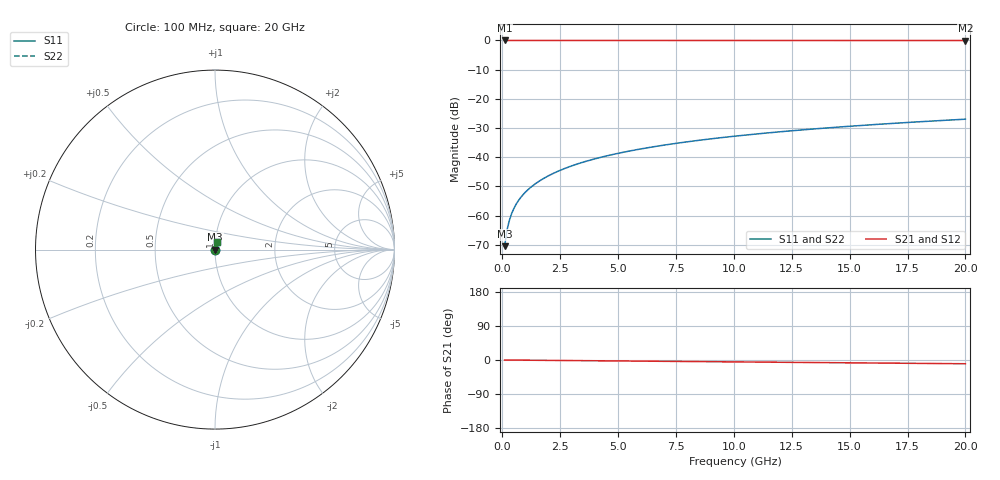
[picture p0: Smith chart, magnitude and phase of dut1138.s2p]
! Touchstone file exported from HFSS 2026.1.0
!  File:  C:/ffzhzh/LocalFiles/Ansys_Project_Files/temp_train_TSV_1138_1783191313_18472.aedt
!  Generated:  02:56:51 AM Jul  5, 2026
!  Design:  TSV
!  Project:  temp_train_TSV_1138_1783191313_18472
! Variables:
!  h_bsmrdl = 2um
!  h_ox = 20um
!  h_rdl = 5um
!  h_sub = 93.12um
!  h_tmrdl = 5um
!  h_tsv = 93.12um
!  h_via = 3um
!  l_bsmrdl = 300um
!  l_sub = 421um
!  l_tmrdl = 200um
!  m_sub = 200um
!  pitch = 58.54um
!  r_tsv = 10.5um
!  s_tmrdl = 10um
!  w_bsmrdl = 18um
!  w_sub = 500um
!  w_tmrdl = 12um
!  x_tsv_center1 = 206um
!  x_tsv_center2 = 524um
!  x_tsv_center3 = 736um
!  x_tsv_center4 = 1054um
!  x_tsv_center5 = 1266um
!  x_tsv_center6 = 1584um
# GHz S MA R 50.000000
! Terminal data exported
! Port[1] = TSV1_1_T1
! Port[2] = TSV1_1_T2
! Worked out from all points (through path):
!   200 points, 100 MHz to 20 GHz, reference 50 ohm
!   highest |S21| = 0.00 dB at 100 MHz (marker M1); lowest = 0.0 dB at 20 GHz (marker M2)
!   group delay of S21, straight-line fit = 1.37 ps
!   lowest |S11| = -70.5 dB at 100 MHz (marker M3), VSWR 1.00, Z = 50 + j0.0271 ohm
!   |S11| at or under -10 dB: start of sweep to end of sweep
!   |S22| runs from -70.5 to -27.0 dB; largest |S21 - S12| = 3.2e-15
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0.1  0.0003 64.5  0.9999 -0.1  0.9999 -0.1  0.0003 64.5
! Gamma 0 0 0 0
! Port Impedance 50 0 50 0
0.2  0.0005571 75.2  0.9999 -0.1  0.9999 -0.1  0.0005571 75.2
0.3  0.000818 78.6  0.9998 -0.2  0.9998 -0.2  0.000818 78.6
0.4  0.001075 80.1  0.9998 -0.2  0.9998 -0.2  0.001075 80.1
0.5  0.001328 80.8  0.9998 -0.3  0.9998 -0.3  0.001328 80.8
0.6  0.001575 81.3  0.9998 -0.3  0.9998 -0.3  0.001575 81.3
0.7  0.001818 81.6  0.9997 -0.4  0.9997 -0.4  0.001818 81.6
0.9  0.002293 82.1  0.9997 -0.5  0.9997 -0.5  0.002293 82.1
1.1  0.002759 82.5  0.9997 -0.6  0.9997 -0.6  0.002759 82.5
1.3  0.003221 82.9  0.9996 -0.7  0.9996 -0.7  0.003221 82.9
1.6  0.003911 83.3  0.9996 -0.8  0.9996 -0.8  0.003911 83.3
1.9  0.004599 83.7  0.9996 -1.0  0.9996 -1.0  0.004599 83.7
2.6  0.006202 84.1  0.9995 -1.3  0.9995 -1.3  0.006202 84.1
3.5  0.00826 84.3  0.9994 -1.8  0.9994 -1.8  0.00826 84.3
4.2  0.009853 84.3  0.9993 -2.1  0.9993 -2.1  0.009853 84.3
5  0.01167 84.2  0.9993 -2.5  0.9993 -2.5  0.01167 84.2
6.8  0.01572 83.7  0.9991 -3.4  0.9991 -3.4  0.01572 83.7
8.3  0.01908 83.2  0.9989 -4.1  0.9989 -4.1  0.01908 83.2
10.1  0.02309 82.6  0.9988 -5.0  0.9988 -5.0  0.02309 82.6
13.4  0.0304 81.3  0.9984 -6.6  0.9984 -6.6  0.0304 81.3
16.7  0.03765 79.9  0.9981 -8.3  0.9981 -8.3  0.03765 79.9
20  0.04483 78.4  0.9976 -9.9  0.9976 -9.9  0.04483 78.4
